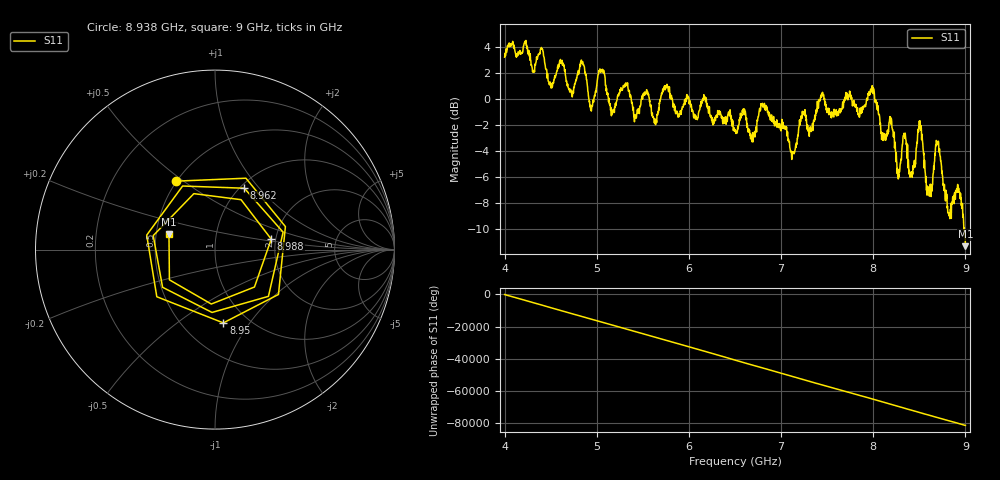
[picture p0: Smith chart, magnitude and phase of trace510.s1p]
! Created with skrf 1.8.0 (http://scikit-rf.org).
# Hz S RI R 50.0
!freq ReS11 ImS11
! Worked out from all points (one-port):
!   1601 points, 4 GHz to 9 GHz, reference 50 ohm
!   lowest |S11| = -11.3 dB at 9 GHz (marker M1), VSWR 1.74, Z = 29.2 + j5.53 ohm
!   |S11| at or under -10 dB: 8.98361 GHz to 8.985977 GHz (2.368 MHz wide, 0.0264 % of centre); 8.988471 GHz to end of sweep
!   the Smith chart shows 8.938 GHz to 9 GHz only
!   S11 on the Smith chart (normalised r, x): 8.938 GHz: 0.50, +0.47; 8.95 GHz: 0.77, -0.76; 8.962 GHz: 1.05, +0.84; 8.988 GHz: 1.89, +0.25; 9 GHz: 0.58, +0.11
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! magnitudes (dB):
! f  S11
! 4 GHz  3.2
! 4.625 GHz  3.0
! 4.722 GHz  0.5
! 4.844 GHz  2.8
! 4.941 GHz  -0.9
! 5.041 GHz  2.1
! 5.166 GHz  -1.2
! 5.25 GHz  0.5
! 5.875 GHz  -1.0
! 6.5 GHz  -2.5
! 6.809 GHz  -0.6
! 7.125 GHz  -4.2
! 7.438 GHz  0.1
! 7.75 GHz  0.5
! 7.988 GHz  1.0
! 8.203 GHz  -2.2
! 8.272 GHz  -6.2
! 8.375 GHz  -4.6
! 8.425 GHz  -5.6
! 8.506 GHz  -1.9
! 8.603 GHz  -6.8
! 8.694 GHz  -3.5
! 8.822 GHz  -8.9
! 8.938 GHz  -7.2
! 8.95 GHz  -7.7
! 8.962 GHz  -8.4
! 8.988 GHz  -9.9
! 9 GHz  -11.3
